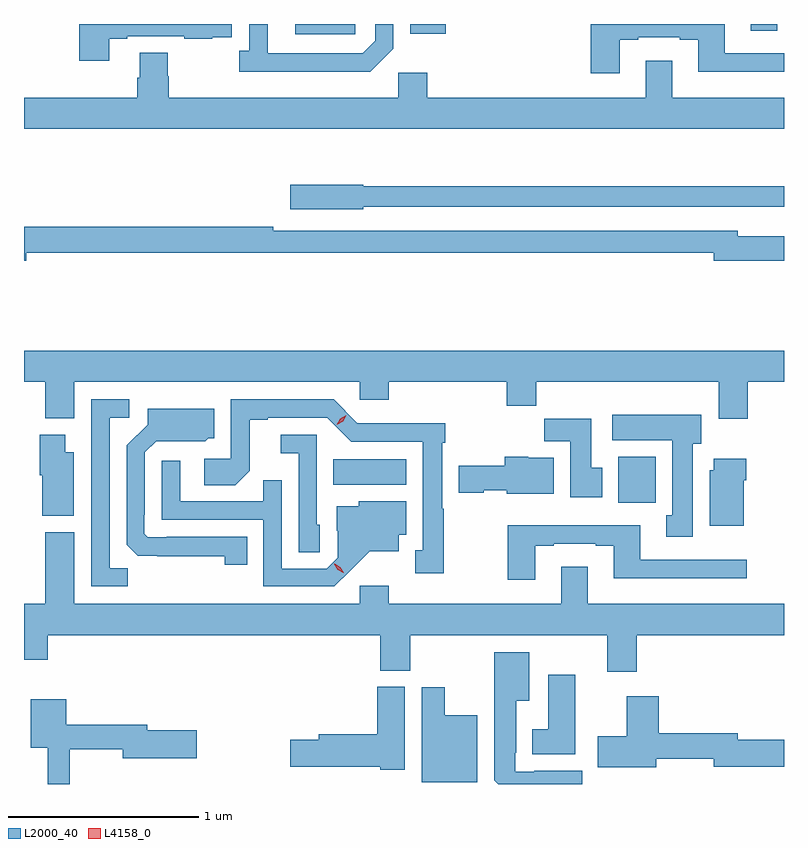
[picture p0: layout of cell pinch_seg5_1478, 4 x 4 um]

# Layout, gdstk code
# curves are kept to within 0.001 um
import gdstk
lib = gdstk.Library(unit=1e-6, precision=1e-09)
def R(c, l, rs):  # rectangles x0, y0, x1, y1
    for r in rs: c.add(gdstk.rectangle(r[:2], r[2:], *l))
def P(c, l, *ps):  # polygons
    for p in ps: c.add(gdstk.Polygon(p, *l))
L2000_40 = (2000, 40)
L4158_0 = (4158, 0)

pinch_seg5_1478 = lib.new_cell('pinch_seg5_1478')
R(pinch_seg5_1478, L2000_40, [(307.145,864.116,307.342,864.358), (305.644,864.212,306.028,864.346), (305.445,866.583,305.76,866.636), (306.05,866.585,306.238,866.636), (307.841,866.601,307.981,866.636)])
P(pinch_seg5_1478, L2000_40, [(304.465,866.559),(304.561,866.559),(304.561,866.571),(304.861,866.571),(304.861,866.559),(305.009,866.559),(305.009,866.565),(305.111,866.565),(305.111,866.636),(304.309,866.636),(304.309,866.442),(304.465,866.442)],
  [(305.961,866.505),(305.961,866.636),(305.865,866.636),(305.865,866.547),(305.799,866.481),(305.299,866.481),(305.299,866.636),(305.202,866.636),(305.202,866.494),(305.151,866.494),(305.151,866.384),(305.84,866.384)],
  [(307.153,866.553),(307.249,866.553),(307.249,866.565),(307.469,866.565),(307.469,866.553),(307.565,866.553),(307.565,866.384),(308.017,866.384),(308.017,866.481),(307.705,866.481),(307.705,866.636),(307.001,866.636),(307.001,866.376),(307.153,866.376)],
  [(308.017,866.248),(307.429,866.248),(307.429,866.443),(307.289,866.443),(307.289,866.248),(306.14,866.248),(306.14,866.38),(305.988,866.38),(305.988,866.248),(304.778,866.248),(304.778,866.361),(304.773,866.361),(304.773,866.486),(304.625,866.486),(304.625,866.354),(304.613,866.354),(304.613,866.248),(304.017,866.248),(304.017,866.084),(308.017,866.084)],
  [(305.802,865.674),(307.87,865.674),(307.87,865.673),(308.017,865.673),(308.017,865.783),(305.802,865.783),(305.802,865.791),(305.418,865.791),(305.418,865.661),(305.802,865.661)],
  [(304.03,865.432),(307.646,865.432),(307.646,865.39),(308.017,865.39),(308.017,865.519),(307.774,865.519),(307.774,865.548),(305.33,865.548),(305.33,865.568),(304.017,865.568),(304.017,865.39),(304.03,865.39)],
  [(307.826,864.752),(308.017,864.752),(308.017,864.916),(304.017,864.916),(304.017,864.752),(304.13,864.752),(304.13,864.56),(304.282,864.56),(304.282,864.752),(305.784,864.752),(305.784,864.659),(305.936,864.659),(305.936,864.752),(306.557,864.752),(306.557,864.628),(306.713,864.628),(306.713,864.752),(307.673,864.752),(307.673,864.558),(307.826,864.558)],
  [(304.563,863.771),(304.467,863.771),(304.467,864.564),(304.57,864.564),(304.57,864.66),(304.371,864.66),(304.371,863.676),(304.563,863.676)],
  [(306.227,864.086),(306.217,864.086),(306.217,864.431),(306.235,864.431),(306.235,864.536),(305.994,864.536),(305.994,864.534),(305.772,864.534),(305.646,864.66),(305.106,864.66),(305.106,864.348),(304.965,864.348),(304.965,864.208),(305.129,864.208),(305.205,864.284),(305.205,864.552),(305.299,864.552),(305.299,864.564),(305.613,864.564),(305.739,864.438),(306.116,864.438),(306.116,863.865),(306.077,863.865),(306.077,863.745),(306.227,863.745)],
  [(305.192,863.937),(304.768,863.937),(304.768,863.934),(304.668,863.934),(304.65,863.952),(304.65,864.052),(304.653,864.052),(304.653,864.381),(304.713,864.441),(304.97,864.44),(304.986,864.456),(305.017,864.456),(305.017,864.61),(304.667,864.61),(304.667,864.528),(304.557,864.418),(304.557,863.896),(304.616,863.837),(305.074,863.836),(305.074,863.79),(305.192,863.79)],
  [(307.537,864.426),(307.582,864.426),(307.582,864.58),(307.113,864.58),(307.113,864.446),(307.43,864.446),(307.43,864.05),(307.397,864.05),(307.397,863.937),(307.537,863.937)],
  [(307.06,864.3),(307.003,864.3),(307.003,864.559),(306.754,864.559),(306.754,864.44),(306.893,864.44),(306.893,864.144),(307.06,864.144)],
  [(304.279,864.382),(304.234,864.382),(304.234,864.475),(304.1,864.475),(304.1,864.261),(304.112,864.261),(304.112,864.047),(304.279,864.047)],
  [(305.574,864),(305.559,864),(305.559,864.474),(305.367,864.474),(305.367,864.377),(305.463,864.377),(305.463,863.857),(305.574,863.857)],
  [(306.805,864.352),(306.672,864.352),(306.672,864.358),(306.547,864.358),(306.547,864.312),(306.306,864.312),(306.306,864.17),(306.438,864.17),(306.438,864.182),(306.558,864.182),(306.558,864.164),(306.805,864.164)],
  [(307.804,864.236),(307.817,864.236),(307.817,864.349),(307.646,864.349),(307.646,864.288),(307.625,864.288),(307.625,863.996),(307.804,863.996)],
  [(305.734,863.759),(305.837,863.861),(305.989,863.861),(305.989,863.948),(306.028,863.948),(306.028,864.124),(305.778,864.124),(305.778,864.097),(305.663,864.097),(305.663,863.968),(305.667,863.968),(305.667,863.826),(305.61,863.769),(305.373,863.769),(305.373,864.236),(305.275,864.236),(305.275,864.123),(304.839,864.123),(304.839,864.337),(304.743,864.337),(304.743,864.027),(305.277,864.027),(305.277,863.676),(305.65,863.676)],
  [(306.709,863.889),(306.805,863.889),(306.805,863.901),(307.025,863.901),(307.025,863.889),(307.121,863.889),(307.121,863.72),(307.822,863.72),(307.822,863.817),(307.261,863.817),(307.261,863.998),(306.562,863.998),(306.562,863.712),(306.709,863.712)],
  [(307.241,863.42),(308.017,863.42),(308.017,863.584),(306.985,863.584),(306.985,863.779),(306.845,863.779),(306.845,863.584),(305.936,863.584),(305.936,863.68),(305.784,863.68),(305.784,863.584),(304.282,863.584),(304.282,863.962),(304.13,863.962),(304.13,863.584),(304.017,863.584),(304.017,863.289),(304.142,863.289),(304.142,863.42),(305.891,863.42),(305.891,863.233),(306.051,863.233),(306.051,863.42),(307.088,863.42),(307.088,863.226),(307.241,863.226)],
  [(306.955,862.705),(306.703,862.705),(306.703,862.701),(306.603,862.701),(306.603,862.801),(306.607,862.801),(306.607,863.075),(306.676,863.075),(306.676,863.329),(306.491,863.329),(306.491,862.657),(306.512,862.636),(306.955,862.636)],
  [(306.919,863.212),(306.776,863.212),(306.776,862.924),(306.692,862.924),(306.692,862.793),(306.919,862.793)],
  [(306.022,863.148),(305.876,863.148),(305.876,862.898),(305.567,862.898),(305.567,862.868),(305.418,862.868),(305.418,862.726),(305.892,862.726),(305.892,862.712),(306.022,862.712)],
  [(306.403,862.999),(306.232,862.999),(306.232,863.146),(306.11,863.146),(306.11,862.646),(306.403,862.646)],
  [(307.345,862.768),(307.646,862.768),(307.646,862.726),(308.017,862.726),(308.017,862.868),(307.774,862.868),(307.774,862.904),(307.358,862.904),(307.358,863.098),(307.19,863.098),(307.19,862.887),(307.038,862.887),(307.038,862.724),(307.345,862.724)],
  [(304.259,862.819),(304.538,862.819),(304.538,862.772),(304.927,862.772),(304.927,862.919),(304.666,862.919),(304.666,862.948),(304.24,862.948),(304.24,863.083),(304.052,863.083),(304.052,862.826),(304.142,862.826),(304.142,862.636),(304.259,862.636)])
P(pinch_seg5_1478, L4158_0, [(305.664,864.526),(305.664,864.527),(305.681,864.559),(305.713,864.578),(305.713,864.578),(305.713,864.578),(305.696,864.545),(305.664,864.526)],
  [(305.698,863.748),(305.668,863.764),(305.651,863.793),(305.651,863.794),(305.652,863.794),(305.682,863.778),(305.699,863.749),(305.699,863.748)])

lib.write_gds('pinch_seg5_1478.gds')
